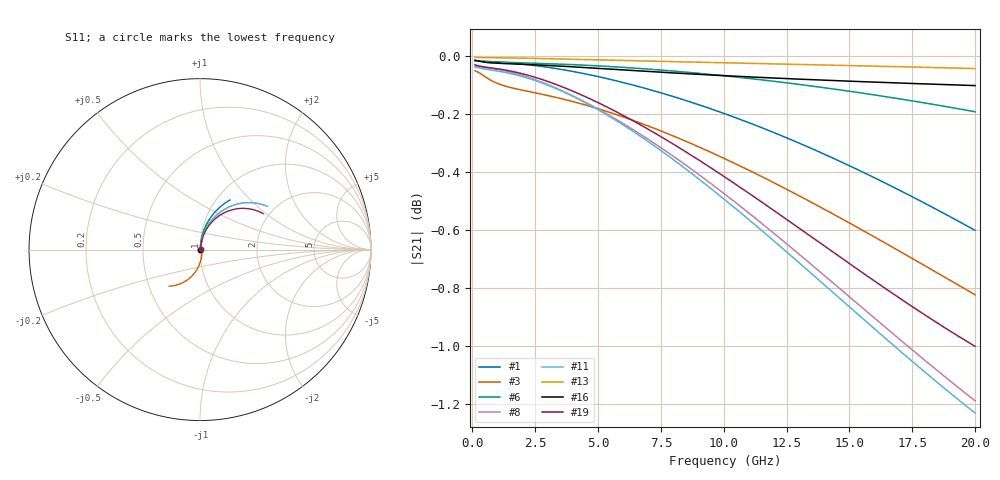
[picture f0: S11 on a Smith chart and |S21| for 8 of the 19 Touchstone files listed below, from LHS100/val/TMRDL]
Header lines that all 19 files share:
! Touchstone file exported from HFSS 2026.1.0
!  Design:  TMRDL
! Variables:
! Terminal data exported
# GHz S MA R 50.000000
Fixed: h_bsmrdl = 2um, h_ox = 20um, h_rdl = 5um, h_sub = 80um, h_tsv = 80um, h_via = 3um, l_bsmrdl = 300um, m_sub = 200um, r_tsv = 6um, s_tmrdl = 10um, w_bsmrdl = 18um, w_sub = 500um
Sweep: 100 MHz to 20 GHz
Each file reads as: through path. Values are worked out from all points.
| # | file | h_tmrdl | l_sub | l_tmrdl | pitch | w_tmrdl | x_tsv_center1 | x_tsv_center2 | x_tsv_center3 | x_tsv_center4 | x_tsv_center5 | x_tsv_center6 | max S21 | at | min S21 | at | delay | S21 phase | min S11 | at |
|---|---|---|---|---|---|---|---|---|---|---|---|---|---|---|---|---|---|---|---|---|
| 1 | dut0.s2p | 4.08um | 764.65um | 364.65um | 56.52um | 18.18um | 373.74um | 691.74um | 1074.57um | 1392.57um | 1775.4um | 2093.4um | -0.02 dB | 100 MHz | -0.6 dB | 20 GHz | 4.16 ps | -16 deg at 10.1 GHz | -51.1 dB | 100 MHz |
| 2 | dut1.s2p | 5.97um | 1074.32um | 674.32um | 53.6um | 26.95um | 687.795um | 1005.795um | 1707.065um | 2025.065um | 2726.335um | 3044.335um | -0.01 dB | 100 MHz | -0.6 dB | 20 GHz | 6.06 ps | -23 deg at 10.1 GHz | -50.8 dB | 100 MHz |
| 3 | dut2.s2p | 3.24um | 1195.85um | 795.85um | 16.38um | 15.2um | 803.45um | 1121.45um | 1932.5um | 2250.5um | 3061.55um | 3379.55um | -0.05 dB | 100 MHz | -0.8 dB | 20 GHz | 6.75 ps | -26 deg at 10.1 GHz | -44.5 dB | 100 MHz |
| 4 | dut3.s2p | 2.94um | 1013.16um | 613.16um | 50.92um | 20.83um | 623.575um | 941.575um | 1575.565um | 1893.565um | 2527.555um | 2845.555um | -0.03 dB | 100 MHz | -1.0 dB | 20 GHz | 6.08 ps | -23 deg at 10.1 GHz | -46.5 dB | 100 MHz |
| 5 | dut4.s2p | 3.03um | 1398.88um | 998.88um | 34.9um | 25.46um | 1011.61um | 1329.61um | 2353.95um | 2671.95um | 3696.29um | 4014.29um | -0.04 dB | 100 MHz | -0.4 dB | 20 GHz | 8.02 ps | -30 deg at 10.1 GHz | -45.5 dB | 100 MHz |
| 6 | dut5.s2p | 2um | 565.6um | 165.6um | 46.52um | 17.81um | 174.505um | 492.505um | 675.915um | 993.915um | 1177.325um | 1495.325um | -0.02 dB | 100 MHz | -0.2 dB | 20 GHz | 2.17 ps | -8 deg at 10.1 GHz | -52.8 dB | 100 MHz |
| 7 | dut7.s2p | 2.64um | 646.07um | 246.07um | 34.98um | 21.01um | 256.575um | 574.575um | 841.655um | 1159.655um | 1426.735um | 1744.735um | -0.02 dB | 100 MHz | -0.1 dB | 20 GHz | 2.38 ps | -9 deg at 10.1 GHz | -53.7 dB | 100 MHz |
| 8 | dut8.s2p | 5.63um | 1261.85um | 861.85um | 36.88um | 13.77um | 868.735um | 1186.735um | 2062.355um | 2380.355um | 3255.975um | 3573.975um | -0.03 dB | 100 MHz | -1.2 dB | 20 GHz | 7.52 ps | -29 deg at 10.1 GHz | -45.6 dB | 100 MHz |
| 9 | dut9.s2p | 5.59um | 699.43um | 299.43um | 58.82um | 27.7um | 313.28um | 631.28um | 958.41um | 1276.41um | 1603.54um | 1921.54um | -0.01 dB | 100 MHz | -0.3 dB | 20 GHz | 3.15 ps | -12 deg at 10.1 GHz | -56.3 dB | 100 MHz |
| 10 | dut10.s2p | 5.09um | 825.01um | 425.01um | 24.3um | 11.46um | 430.74um | 748.74um | 1185.21um | 1503.21um | 1939.68um | 2257.68um | -0.02 dB | 100 MHz | -0.3 dB | 20 GHz | 3.69 ps | -14 deg at 10.1 GHz | -50.5 dB | 100 MHz |
| 11 | dut11.s2p | 4.28um | 1272.84um | 872.84um | 40.48um | 16.65um | 881.165um | 1199.165um | 2088.655um | 2406.655um | 3296.145um | 3614.145um | -0.04 dB | 100 MHz | -1.2 dB | 20 GHz | 7.72 ps | -30 deg at 10.1 GHz | -45.0 dB | 100 MHz |
| 12 | dut12.s2p | 2.45um | 944.03um | 544.03um | 38.83um | 24.07um | 556.065um | 874.065um | 1442.165um | 1760.165um | 2328.265um | 2646.265um | -0.03 dB | 100 MHz | -0.4 dB | 20 GHz | 4.88 ps | -18 deg at 10.1 GHz | -48.0 dB | 100 MHz |
| 13 | dut13.s2p | 4.61um | 532.46um | 132.46um | 43.77um | 29.84um | 147.38um | 465.38um | 627.68um | 945.68um | 1107.98um | 1425.98um | 0.00 dB | 100 MHz | 0.0 dB | 20 GHz | 1.33 ps | -5 deg at 10.1 GHz | -63.4 dB | 100 MHz |
| 14 | dut14.s2p | 3.82um | 954.67um | 554.67um | 50.44um | 23.21um | 566.275um | 884.275um | 1462.155um | 1780.155um | 2358.035um | 2676.035um | -0.02 dB | 100 MHz | -0.7 dB | 20 GHz | 5.36 ps | -20 deg at 10.1 GHz | -49.6 dB | 100 MHz |
| 15 | dut15.s2p | 2.33um | 870.32um | 470.32um | 44.61um | 19.39um | 480.015um | 798.015um | 1287.725um | 1605.725um | 2095.435um | 2413.435um | -0.03 dB | 100 MHz | -0.6 dB | 20 GHz | 4.81 ps | -18 deg at 10.1 GHz | -46.9 dB | 100 MHz |
| 16 | dut16.s2p | 3.69um | 804.02um | 404.02um | 32.87um | 28.14um | 418.09um | 736.09um | 1168.25um | 1486.25um | 1918.41um | 2236.41um | -0.01 dB | 100 MHz | -0.1 dB | 20 GHz | 3.21 ps | -12 deg at 10.1 GHz | -55.1 dB | 100 MHz |
| 17 | dut17.s2p | 4.93um | 1118.26um | 718.26um | 17.89um | 14.32um | 725.42um | 1043.42um | 1776um | 2094um | 2826.58um | 3144.58um | -0.03 dB | 100 MHz | -0.2 dB | 20 GHz | 5.44 ps | -20 deg at 10.1 GHz | -48.4 dB | 100 MHz |
| 18 | dut18.s2p | 5.29um | 599.09um | 199.09um | 20.5um | 10.3um | 204.24um | 522.24um | 731.63um | 1049.63um | 1259.02um | 1577.02um | -0.01 dB | 100 MHz | -0.1 dB | 20 GHz | 1.74 ps | -6 deg at 10.1 GHz | -56.5 dB | 100 MHz |
| 19 | dut19.s2p | 4.43um | 1350.87um | 950.87um | 44.95um | 22.56um | 962.15um | 1280.15um | 2253.58um | 2571.58um | 3545.01um | 3863.01um | -0.03 dB | 100 MHz | -1.0 dB | 20 GHz | 8.14 ps | -31 deg at 10.1 GHz | -46.3 dB | 100 MHz |
